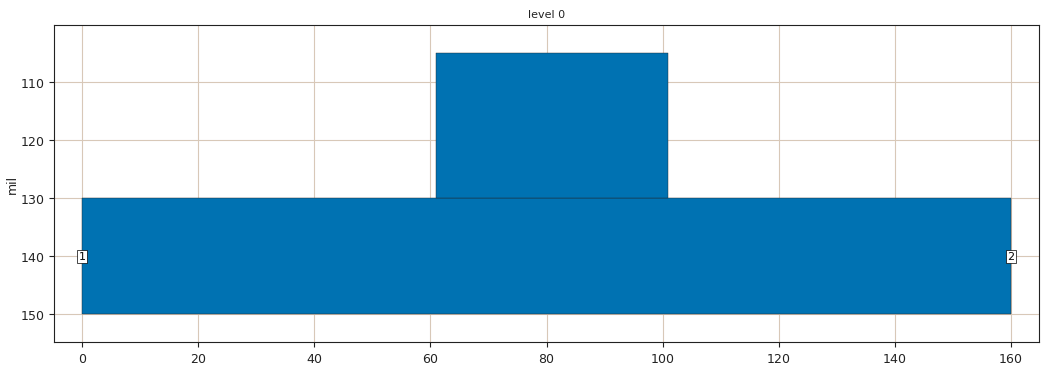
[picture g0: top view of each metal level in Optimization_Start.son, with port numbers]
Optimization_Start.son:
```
FTYP SONPROJ 5 ! Sonnet Project File
VER 12.56
HEADER
LIC sonnet9.aa.99999
DAT 08/06/2010 12:22:55
BUILT_BY_CREATED Matlab 6/9/2010 06/10/2010 09:43:03
BUILT_BY_SAVED xgeom 12.56
MDATE 08/06/2010 12:22:55
HDATE 08/06/2010 12:22:55
END HEADER
DIM
FREQ GHZ
IND NH
LNG MIL
ANG DEG
CON /OH
CAP PF
RES OH
END DIM
FREQ
STEP 5
END FREQ
CONTROL
STD
OPTIONS  -d 
SPEED 0
CACHE_ABS 1
TARG_ABS 300
Q_ACC N
END CONTROL
GEO
TMET "Lossless" 0 SUP 0 0 0 0
BMET "Lossless" 0 SUP 0 0 0 0
BOX 1 160 160 320 320 20 0
      50 1 1 0 0 0 0 "Unnamed"
      5 1 1 0 0 0 0 "Unnamed"
VALVAR Length NONE 25 ""
POR1 STD
POLY 8 1
3
1 50 0 0 0 0 140 
POR1 STD
POLY 8 1
1
2 50 0 0 0 160 140 
NUM 2
0 5 -1 N 8 1 1 100 100 0 0 0 Y
0 130
160 130
160 150
0 150
0 130
END
0 5 -1 N 16 1 1 100 100 0 0 0 Y
61 105
101 105
101 130
61 130
61 105
END
END GEO
OPT
MAX 100
VARS
Length N UNDEF UNDEF UNDEF
END OPT
VARSWP
END VARSWP
FILEOUT
TS D Y $BASENAME.s2p IC 8 S MA R 50.00000
END FILEOUT
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```
